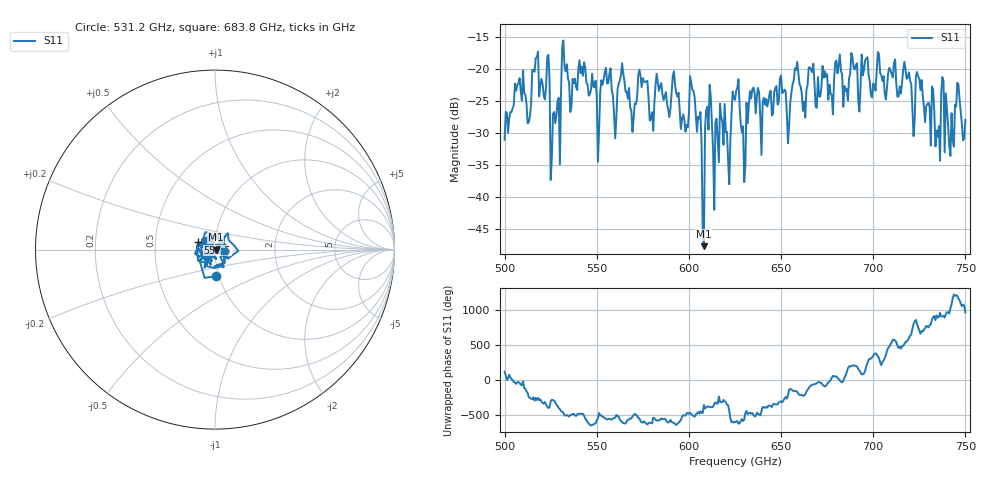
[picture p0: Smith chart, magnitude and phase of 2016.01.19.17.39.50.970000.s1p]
!Created with skrf (http://scikit-rf.org).
# GHz S RI R 50.0
!freq ReS11 ImS11
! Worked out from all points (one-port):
!   401 points, 500 GHz to 750 GHz, reference 50 ohm
!   lowest |S11| = -47.7 dB at 608.1 GHz (marker M1), VSWR 1.01, Z = 50.4 + j0.0327 ohm
!   |S11| at or under -10 dB: start of sweep to end of sweep
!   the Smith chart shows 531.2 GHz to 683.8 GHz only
!   S11 on the Smith chart (normalised r, x): 531.2 GHz: 0.96, -0.29; 557.5 GHz: 0.83, +0.07; 683.8 GHz: 1.10, -0.02
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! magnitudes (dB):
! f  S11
! 500 GHz  -31.1
! 506.9 GHz  -22.5
! 513.1 GHz  -28.3
! 516.9 GHz  -18.3
! 523.1 GHz  -18.2
! 526.2 GHz  -27.0
! 531.2 GHz  -16.5
! 557.5 GHz  -19.9
! 562.5 GHz  -21.8
! 569.4 GHz  -29.8
! 573.8 GHz  -21.0
! 580 GHz  -26.7
! 593.8 GHz  -24.3
! 598.8 GHz  -28.8
! 601.9 GHz  -23.2
! 608.1 GHz  -47.7
! 610.6 GHz  -29.5
! 621.2 GHz  -34.2
! 625 GHz  -24.8
! 629.4 GHz  -29.0
! 634.4 GHz  -23.2
! 656.2 GHz  -22.4
! 683.8 GHz  -25.9
! 687.5 GHz  -20.7
! 718.8 GHz  -21.3
! 735 GHz  -30.6
! 738.1 GHz  -21.8
! 750 GHz  -28.0
